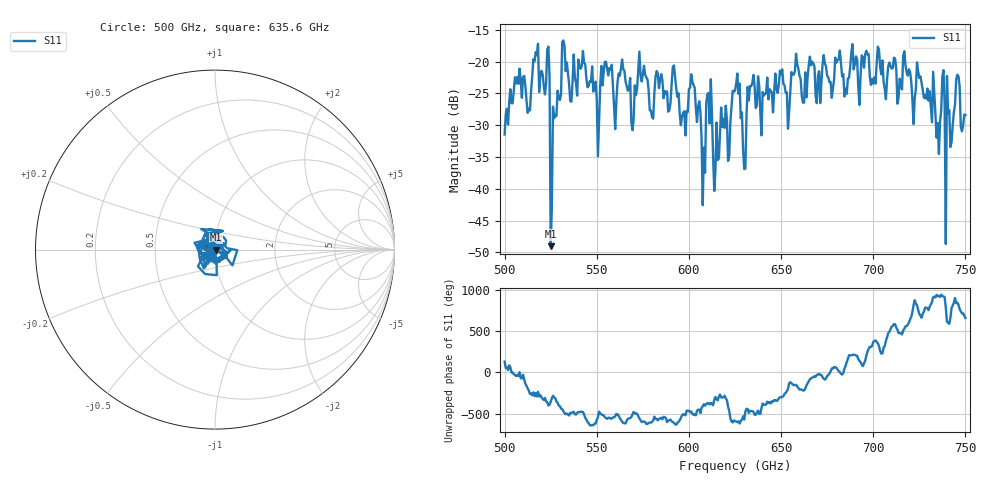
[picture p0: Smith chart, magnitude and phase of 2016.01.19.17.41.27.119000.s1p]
!Created with skrf (http://scikit-rf.org).
# GHz S RI R 50.0
!freq ReS11 ImS11
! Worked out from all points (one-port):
!   401 points, 500 GHz to 750 GHz, reference 50 ohm
!   lowest |S11| = -49.0 dB at 525 GHz (marker M1), VSWR 1.01, Z = 50.4 + j0.0188 ohm
!   |S11| at or under -10 dB: start of sweep to end of sweep
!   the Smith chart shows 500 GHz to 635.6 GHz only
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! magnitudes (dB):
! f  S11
! 500 GHz  -31.5
! 506.9 GHz  -22.4
! 513.1 GHz  -27.4
! 516.9 GHz  -18.5
! 523.1 GHz  -18.1
! 525 GHz  -49.0
! 526.2 GHz  -27.1
! 531.2 GHz  -16.9
! 550 GHz  -25.9
! 562.5 GHz  -22.2
! 570 GHz  -29.1
! 574.4 GHz  -23.1
! 579.4 GHz  -27.7
! 593.8 GHz  -25.5
! 601.9 GHz  -23.2
! 607.5 GHz  -42.6
! 610.6 GHz  -24.9
! 615 GHz  -29.6
! 625 GHz  -24.6
! 629.4 GHz  -33.8
! 634.4 GHz  -23.4
! 656.2 GHz  -22.0
! 687.5 GHz  -20.8
! 718.8 GHz  -22.2
! 735 GHz  -29.7
! 740.6 GHz  -28.2
! 745.6 GHz  -22.1
! 750 GHz  -28.4
